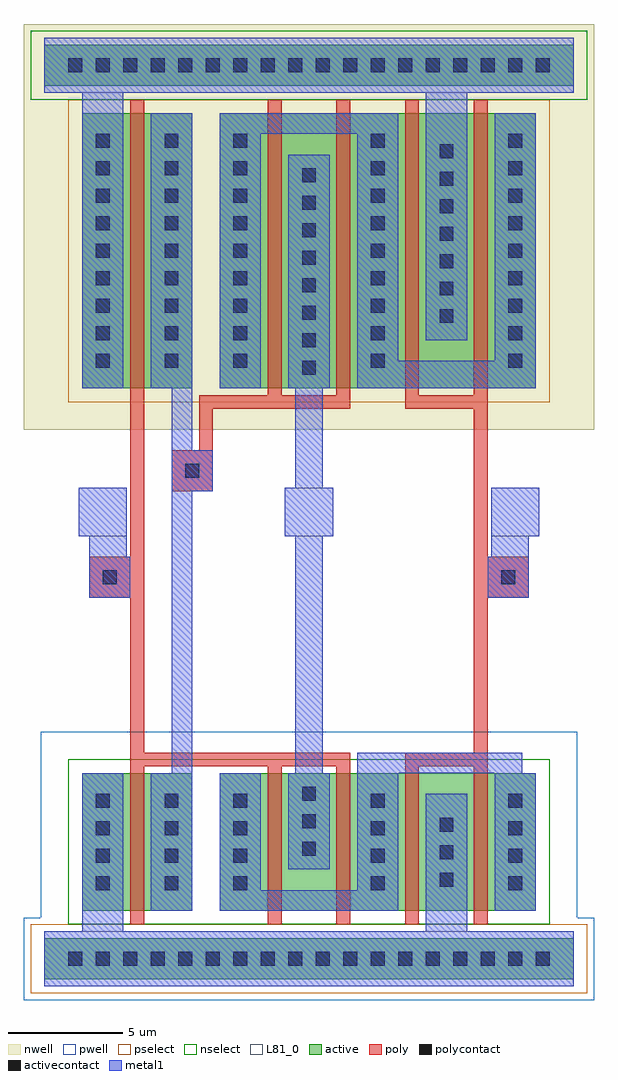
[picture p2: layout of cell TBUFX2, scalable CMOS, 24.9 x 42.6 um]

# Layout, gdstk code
import gdstk
lib = gdstk.Library(unit=1e-6, precision=1e-09)
def R(c, l, rs):  # rectangles x0, y0, x1, y1
    for r in rs: c.add(gdstk.rectangle(r[:2], r[2:], *l))
def A(c, l, x, y, w, h, nx, ny, dx, dy):  # array of equal rectangles
    R(c, l, [(x+i*dx, y+j*dy, x+i*dx+w, y+j*dy+h) for i in range(nx) for j in range(ny)])
pwell = (41, 0)
nwell = (42, 0)
active = (43, 0)
pselect = (44, 0)
nselect = (45, 0)
poly = (46, 0)
polycontact = (47, 0)
activecontact = (48, 0)
metal1 = (49, 0)
L81_0 = (81, 0)

tbufx2 = lib.new_cell('TBUFX2')
R(tbufx2, pwell, [(-1.95,-1.8,22.95,1.8), (-1.2,1.8,22.2,9.9)])
R(tbufx2, nwell, [(-1.95,23.1,22.95,40.8)])
R(tbufx2, active, [(-1.05,-0.9,22.05,0.9), (0.6,2.1,5.4,8.1), (6.6,2.1,20.4,8.1), (0.6,24.9,5.4,36.9), (6.6,24.9,20.4,36.9), (-1.05,38.1,22.05,39.9)])
R(tbufx2, pselect, [(-1.65,-1.5,22.65,1.5), (0,24.3,21,37.5)])
R(tbufx2, nselect, [(0,1.5,21,8.7), (-1.65,37.5,22.65,40.5)])
A(tbufx2, poly, 8.7, 1.5, 0.6, 6.9, 4, 1, 3, 0)
A(tbufx2, poly, 8.7, 24.6, 0.6, 12.9, 4, 1, 3, 0)
R(tbufx2, poly, [(2.7,1.5,3.3,8.4), (2.7,8.4,12.3,9), (14.7,8.4,18.3,9), (2.7,9,3.3,15.75), (17.7,9,18.3,15.75), (0.9,15.75,3.3,17.55), (17.7,15.75,20.1,17.55), (2.7,17.55,3.3,37.5), (17.7,17.55,18.3,24), (4.5,20.4,6.3,22.2), (5.7,22.2,6.3,24), (5.7,24,12.3,24.6), (14.7,24,18.3,24.6)])
R(tbufx2, polycontact, [(1.5,16.35,2.1,16.95), (18.9,16.35,19.5,16.95), (5.1,21,5.7,21.6)])
A(tbufx2, activecontact, 0, -0.3, 0.6, 0.6, 18, 2, 1.2, 39)
A(tbufx2, activecontact, 1.2, 3, 0.6, 0.6, 3, 4, 3, 1.2)
A(tbufx2, activecontact, 13.2, 3, 0.6, 0.6, 1, 4, 0, 1.2)
A(tbufx2, activecontact, 19.2, 3, 0.6, 0.6, 1, 4, 0, 1.2)
A(tbufx2, activecontact, 16.2, 3.15, 0.6, 0.6, 1, 3, 0, 1.2)
A(tbufx2, activecontact, 10.2, 4.5, 0.6, 0.6, 1, 3, 0, 1.2)
A(tbufx2, activecontact, 10.2, 25.5, 0.6, 0.6, 1, 8, 0, 1.2)
A(tbufx2, activecontact, 1.2, 25.8, 0.6, 0.6, 3, 9, 3, 1.2)
A(tbufx2, activecontact, 13.2, 25.8, 0.6, 0.6, 1, 9, 0, 1.2)
A(tbufx2, activecontact, 19.2, 25.8, 0.6, 0.6, 1, 9, 0, 1.2)
A(tbufx2, activecontact, 16.2, 27.75, 0.6, 0.6, 1, 7, 0, 1.2)
A(tbufx2, metal1, 0.45, 18.45, 2.1, 2.1, 3, 1, 9, 0)
R(tbufx2, metal1, [(-1.05,-1.2,22.05,1.2), (0.6,1.2,2.4,8.1), (15.6,1.2,17.4,7.2), (3.6,2.1,5.4,8.1), (6.6,2.1,14.4,3), (18.6,2.1,20.4,8.1), (6.6,3,8.4,8.1), (12.6,3,14.4,8.1), (9.6,3.9,11.4,8.1), (4.5,8.1,5.4,20.4), (9.9,8.1,11.1,18.45), (12.6,8.1,19.8,9), (0.9,15.75,2.7,17.55), (18.3,15.75,20.1,17.55), (0.9,17.55,2.55,18.45), (18.45,17.55,20.1,18.45), (4.5,20.4,6.3,22.2), (9.9,20.55,11.1,24.9), (4.5,22.2,5.4,24.9), (0.6,24.9,2.4,37.8), (3.6,24.9,5.4,36.9), (6.6,24.9,8.4,36), (9.6,24.9,11.4,35.1), (12.6,24.9,20.4,26.1), (12.6,26.1,14.4,36), (18.6,26.1,20.4,36.9), (15.6,27,17.4,37.8), (6.6,36,14.4,36.9), (-1.05,37.8,22.05,40.2)])
A(tbufx2, L81_0, 0.45, 18.45, 2.1, 2.1, 3, 1, 9, 0)
R(tbufx2, L81_0, [(-1.05,-1.2,22.05,1.2), (-1.05,37.8,22.05,40.2)])

lib.write_gds('TBUFX2.gds')
